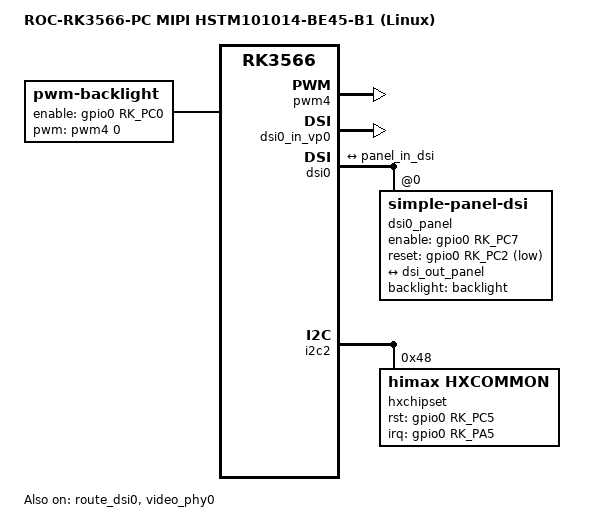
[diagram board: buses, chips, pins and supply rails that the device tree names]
// SPDX-License-Identifier: (GPL-2.0+ OR MIT)
/*
 * Copyright (c) 2020 Rockchip Electronics Co., Ltd.
 *
 */

 /dts-v1/;

#include "rk3566-firefly-roc-pc.dts"

/ {
    model = "ROC-RK3566-PC MIPI HSTM101014-BE45-B1 (Linux)";
    compatible = "rockchip,rk3566-firefly-roc-pc", "rockchip,rk3566";

    backlight: backlight {
        status = "okay";
        compatible = "pwm-backlight";
        enable-gpios = <&gpio0 RK_PC0 GPIO_ACTIVE_HIGH>;
        pwms = <&pwm4 0 50000 1>;
        brightness-levels = <
             60  60  60  60  60  60  60  60
             60  60  60  60  60  60  60  60
             60  60  60  60  60  60  60  60
             60  60  60  60  60  60  60  60
             60  60  60  60  60  60  60  60
             60  60  60  60  60  60  60  60
             60  60  60  60  60  60  60  60
             60  60  60  60  60  61  62  63
             64  65  66  67  68  69  70  71
             72  73  74  75  76  77  78  79
             80  81  82  83  84  85  86  87
             88  89  90  91  92  93  94  95
             96  97  98  99 100 101 102 103
            104 105 106 107 108 109 110 111
            112 113 114 115 116 117 118 119
            120 121 122 123 124 125 126 127
            128 129 130 131 132 133 134 135
            136 137 138 139 140 141 142 143
            144 145 146 147 148 149 150 151
            152 153 154 155 156 157 158 159
            160 161 162 163 164 165 166 167
            168 169 170 171 172 173 174 175
            176 177 178 179 180 181 182 183
            184 185 186 187 188 189 190 191
            192 193 194 195 196 197 198 199
            200 201 202 203 204 205 206 207
            208 209 210 211 212 213 214 215
            216 217 218 219 220 221 222 223
            224 225 226 227 228 229 230 231
            232 233 234 235 236 237 238 239
            240 241 242 243 244 245 246 247
            248 249 250 251 252 253 254 255
        >;
        default-brightness-level = <200>;
    };
};

&pwm4{
	status = "okay";
};

&route_dsi0 {
    status = "okay";
    connect = <&vp0_out_dsi0>;
};

&video_phy0 {
    status = "okay";
};

&dsi0_in_vp0 {
    status = "okay";
};

&dsi0_in_vp1 {
    status = "disabled";
};

/*
 * video_phy0 needs to be enabled
 * when dsi0 is enabled
 */
&dsi0 {
    status = "okay";
    //rockchip,lane-rate = <1000>;
    dsi0_panel: panel@0 {
        status = "okay";
        compatible = "simple-panel-dsi";
        reg = <0>;
	    backlight = <&backlight>;

        enable-gpios = <&gpio0 RK_PC7 GPIO_ACTIVE_HIGH>;
        reset-gpios = <&gpio0 RK_PC2 GPIO_ACTIVE_LOW>;
        //reset-tp-gpio =  <&gpio0 RK_PB5 IRQ_TYPE_LEVEL_LOW>;
        enable-delay-ms = <35>;
        prepare-delay-ms = <6>;
        reset-delay-ms = <25>;
        init-delay-ms = <55>;
        unprepare-delay-ms = <0>;
	    disable-delay-ms = <20>;
        mipi-data-delay-ms = <200>;
        size,width = <120>;
        size,height = <170>;
        dsi,flags = <(MIPI_DSI_MODE_VIDEO | MIPI_DSI_MODE_VIDEO_BURST | MIPI_DSI_MODE_LPM | MIPI_DSI_MODE_EOT_PACKET)>;
        dsi,format = <MIPI_DSI_FMT_RGB888>;
        dsi,lanes  = <4>;

        panel-init-sequence = [
            05 78 01 11
            05 32 01 29
        ];

        panel-exit-sequence = [
            05 00 01 28
            05 00 01 10
        ];

        disp_timings0: display-timings {
            native-mode = <&dsi0_timing0>;
            dsi0_timing0: timing0 {
                clock-frequency = <72600000>;//<80000000>;
                hactive = <800>;//<768>;
                vactive = <1280>;
                hsync-len = <14>;   //20, 50,10
                hback-porch = <26>; //50, 56,10
                hfront-porch = <32>;//50, 30,180
                vsync-len = <8>;//4
                vback-porch = <20>;//4
                vfront-porch = <80>;//8
                hsync-active = <0>;
                vsync-active = <0>;
                de-active = <0>;
                pixelclk-active = <0>;
            };
        };

        ports {
            #address-cells = <1>;
            #size-cells = <0>;

            port@0 {
                reg = <0>;
                panel_in_dsi: endpoint {
                    remote-endpoint = <&dsi_out_panel>;
                };
            };
        };
    };

    ports {
        #address-cells = <1>;
        #size-cells = <0>;

        port@1 {
            reg = <1>;
            dsi_out_panel: endpoint {
            remote-endpoint = <&panel_in_dsi>;
            };
        };
	};
};

&i2c2 {
    status = "okay";

    hxchipset@48{
        status = "okay";
        compatible = "himax,hxcommon";
        reg = <0x48>;

        himax,rst-gpio = <&gpio0 RK_PC5 GPIO_ACTIVE_HIGH>;
        himax,irq-gpio = <&gpio0 RK_PA5 IRQ_TYPE_LEVEL_LOW>;
        //himax,3v3-gpio = <&gpio0 RK_PB4 GPIO_ACTIVE_HIGH>;
        //himax,pon-gpio = <&gpio0 RK_PB4 GPIO_ACTIVE_HIGH>;

        himax,panel-coords = <0 800 0 1280>;      //触摸范围
        himax,display-coords = <0 800 0 1280>;    //分辨率
        report_type = <1>;
    };
};

&route_hdmi {
    status = "disabled";
    connect = <&vp0_out_hdmi>;
};

&hdmi {
    status = "disabled";
};

&hdmi_in_vp0 {
    status = "disabled";
};

&hdmi_in_vp1 {
    status = "disabled";
};
